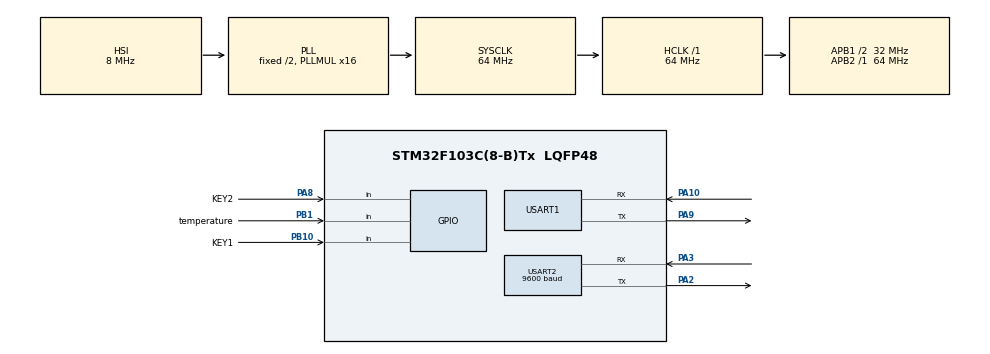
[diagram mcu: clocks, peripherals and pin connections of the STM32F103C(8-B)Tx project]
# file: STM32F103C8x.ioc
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Mcu.Family=STM32F1
Mcu.Name=STM32F103C(8-B)Tx
Mcu.Package=LQFP48
NVIC.PriorityGroup=NVIC_PRIORITYGROUP_4
NVIC.TIM2_IRQn=true\:1\:0\:true\:true\:true\:1\:true
NVIC.USART2_IRQn=true\:0\:0\:false\:true\:true\:2\:true
PA10.Mode=Asynchronous
PA10.Signal=USART1_RX
PA13.Mode=Serial_Wire
PA13.Signal=SYS_JTMS-SWDIO
PA14.Mode=Serial_Wire
PA14.Signal=SYS_JTCK-SWCLK
PA2.Mode=Asynchronous
PA2.Signal=USART2_TX
PA3.Mode=Asynchronous
PA3.Signal=USART2_RX
PA8.GPIO_Label=KEY2
PA8.Signal=GPIO_Input
PA9.Mode=Asynchronous
PA9.Signal=USART1_TX
PB1.GPIO_Label=temperature
PB1.Signal=GPIO_Input
PB10.GPIO_Label=KEY1
PB10.Signal=GPIO_Input
PD0-OSC_IN.Mode=HSE-External-Oscillator
PD0-OSC_IN.Signal=RCC_OSC_IN
PD1-OSC_OUT.Mode=HSE-External-Oscillator
PD1-OSC_OUT.Signal=RCC_OSC_OUT
ProjectManager.HeapSize=0x800
ProjectManager.StackSize=0x2000
ProjectManager.TargetToolchain=MDK-ARM V5
RCC.AHBFreq_Value=64000000
RCC.APB1CLKDivider=RCC_HCLK_DIV2
RCC.APB1Freq_Value=32000000
RCC.APB1TimFreq_Value=64000000
RCC.APB2Freq_Value=64000000
RCC.APB2TimFreq_Value=64000000
RCC.HCLKFreq_Value=64000000
RCC.PLLMUL=RCC_PLL_MUL16
RCC.SYSCLKFreq_VALUE=64000000
RCC.SYSCLKSource=RCC_SYSCLKSOURCE_PLLCLK
RCC.USBFreq_Value=64000000
TIM2.Period=10-1
TIM2.Prescaler=7200-1
USART1.VirtualMode=VM_ASYNC
USART2.BaudRate=9600
USART2.VirtualMode=VM_ASYNC
VP_TIM2_VS_ClockSourceINT.Mode=Internal
board=STM32F103C8x

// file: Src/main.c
/**
  ******************************************************************************
  * @file           : main.c
  * @brief          : Main program body
  ******************************************************************************
  ** This notice applies to any and all portions of this file
  * that are not between comment pairs USER CODE BEGIN and
  * USER CODE END. Other portions of this file, whether
  * inserted by the user or by software development tools
  * are owned by their respective copyright owners.
  *
  * COPYRIGHT(c) 2018 STMicroelectronics
  *
  * Redistribution and use in source and binary forms, with or without modification,
  * are permitted provided that the following conditions are met:
  *   1. Redistributions of source code must retain the above copyright notice,
  *      this list of conditions and the following disclaimer.
  *   2. Redistributions in binary form must reproduce the above copyright notice,
  *      this list of conditions and the following disclaimer in the documentation
  *      and/or other materials provided with the distribution.
  *   3. Neither the name of STMicroelectronics nor the names of its contributors
  *      may be used to endorse or promote products derived from this software
  *      without specific prior written permission.
  *
  * THIS SOFTWARE IS PROVIDED BY THE COPYRIGHT HOLDERS AND CONTRIBUTORS "AS IS"
  * AND ANY EXPRESS OR IMPLIED WARRANTIES, INCLUDING, BUT NOT LIMITED TO, THE
  * IMPLIED WARRANTIES OF MERCHANTABILITY AND FITNESS FOR A PARTICULAR PURPOSE ARE
  * DISCLAIMED. IN NO EVENT SHALL THE COPYRIGHT HOLDER OR CONTRIBUTORS BE LIABLE
  * FOR ANY DIRECT, INDIRECT, INCIDENTAL, SPECIAL, EXEMPLARY, OR CONSEQUENTIAL
  * DAMAGES (INCLUDING, BUT NOT LIMITED TO, PROCUREMENT OF SUBSTITUTE GOODS OR
  * SERVICES; LOSS OF USE, DATA, OR PROFITS; OR BUSINESS INTERRUPTION) HOWEVER
  * CAUSED AND ON ANY THEORY OF LIABILITY, WHETHER IN CONTRACT, STRICT LIABILITY,
  * OR TORT (INCLUDING NEGLIGENCE OR OTHERWISE) ARISING IN ANY WAY OUT OF THE USE
  * OF THIS SOFTWARE, EVEN IF ADVISED OF THE POSSIBILITY OF SUCH DAMAGE.
  *
  ******************************************************************************
  */
#include "main.h"
#include "stm32f1xx_hal.h"

/* USER CODE BEGIN Includes */
#include "hal_key.h"
#include "delay.h"
#include "ds18b20.h"
#include "gizwits_product.h"
#include "common.h"
float temperature=0;
/* USER CODE END Includes */

TIM_HandleTypeDef htim2;

UART_HandleTypeDef huart1;
UART_HandleTypeDef huart2;

/* USER CODE BEGIN PV */
/* Private variables ---------------------------------------------------------*/
#define GPIO_KEY_NUM 2 ///< Defines the total number of key member
keyTypedef_t singleKey[GPIO_KEY_NUM]; ///< Defines a single key member array pointer
keysTypedef_t keys;
/* USER CODE END PV */

void SystemClock_Config(void);
static void MX_GPIO_Init(void);
static void MX_TIM2_Init(void);
static void MX_USART1_UART_Init(void);
static void MX_USART2_UART_Init(void);
static void MX_NVIC_Init(void);

/* USER CODE BEGIN PFP */
/* Private function prototypes -----------------------------------------------*/

/* USER CODE END PFP */

/* USER CODE BEGIN 0 */
/**
* key1 short press handle
* @param none
* @return none
*/
void key1ShortPress(void)
{
    GIZWITS_LOG("KEY1 PRESS ,Production Mode\n");
    gizwitsSetMode(WIFI_PRODUCTION_TEST);
}

/**
* key1 long press handle
* @param none
* @return none
*/
void key1LongPress(void)
{
    GIZWITS_LOG("KEY1 PRESS LONG ,Wifi Reset\n");
    gizwitsSetMode(WIFI_RESET_MODE);

}

/**
* key2 short press handle
* @param none
* @return none
*/
void key2ShortPress(void)
{
    GIZWITS_LOG("KEY2 PRESS ,Soft AP mode\n");
    #if !MODULE_TYPE
    gizwitsSetMode(WIFI_SOFTAP_MODE);
    #endif
}

/**
* key2 long press handle
* @param none
* @return none
*/
void key2LongPress(void)
{
    //AirLink mode
    GIZWITS_LOG("KEY2 PRESS LONG ,AirLink mode\n");
    #if !MODULE_TYPE
    gizwitsSetMode(WIFI_AIRLINK_MODE);
    #endif
}

/**
* Key init function
* @param none
* @return none
*/
void keyInit(void)
{
    singleKey[0] = keyInitOne(NULL, KEY1_GPIO_Port, KEY1_Pin, key1ShortPress, key1LongPress);
    singleKey[1] = keyInitOne(NULL, KEY2_GPIO_Port, KEY2_Pin, key2ShortPress, key2LongPress);
    keys.singleKey = (keyTypedef_t *)&singleKey;
    keyParaInit(&keys);
}
/* USER CODE END 0 */

int main(void)
{
  /* USER CODE BEGIN 1 */
	int ret=0;

  /* USER CODE END 1 */

  /* MCU Configuration----------------------------------------------------------*/

  /* Reset of all peripherals, Initializes the Flash interface and the Systick. */
  HAL_Init();

  /* Configure the system clock */
  SystemClock_Config();

  /* Initialize all configured peripherals */
  MX_GPIO_Init();
  MX_TIM2_Init();
  MX_USART1_UART_Init();
  MX_USART2_UART_Init();

  /* Initialize interrupts */
  MX_NVIC_Init();
  /* USER CODE BEGIN 2 */
	timerInit();
	uartInit();

	userInit();
	gizwitsInit();
	keyInit();
	delay_init(72);
	ret=DS18B20_Init();
	if(ret==0)
		{
		GIZWITS_LOG("MCU Init Success \n");
		}
	//GIZWITS_LOG("MCU Init Success \n");
  /* USER CODE END 2 */

  /* Infinite loop */
  while (1)
  {

  /* USER CODE BEGIN 3 */
		temperature=DS18B20_Get_Temp();

		delay_ms(500);
		GIZWITS_LOG("temperature=%f",temperature);
		userHandle();
		gizwitsHandle((dataPoint_t *)&currentDataPoint);
  }
  /* USER CODE END 3 */

}

void SystemClock_Config(void)
{

  RCC_OscInitTypeDef RCC_OscInitStruct;
  RCC_ClkInitTypeDef RCC_ClkInitStruct;

    /**Initializes the CPU, AHB and APB busses clocks
    */
  RCC_OscInitStruct.OscillatorType = RCC_OSCILLATORTYPE_HSI;
  RCC_OscInitStruct.HSIState = RCC_HSI_ON;
  RCC_OscInitStruct.HSICalibrationValue = 16;
  RCC_OscInitStruct.PLL.PLLState = RCC_PLL_ON;
  RCC_OscInitStruct.PLL.PLLSource = RCC_PLLSOURCE_HSI_DIV2;
  RCC_OscInitStruct.PLL.PLLMUL = RCC_PLL_MUL16;
  if (HAL_RCC_OscConfig(&RCC_OscInitStruct) != HAL_OK)
  {
    _Error_Handler(__FILE__, __LINE__);
  }

    /**Initializes the CPU, AHB and APB busses clocks
    */
  RCC_ClkInitStruct.ClockType = RCC_CLOCKTYPE_HCLK|RCC_CLOCKTYPE_SYSCLK
                              |RCC_CLOCKTYPE_PCLK1|RCC_CLOCKTYPE_PCLK2;
  RCC_ClkInitStruct.SYSCLKSource = RCC_SYSCLKSOURCE_PLLCLK;
  RCC_ClkInitStruct.AHBCLKDivider = RCC_SYSCLK_DIV1;
  RCC_ClkInitStruct.APB1CLKDivider = RCC_HCLK_DIV2;
  RCC_ClkInitStruct.APB2CLKDivider = RCC_HCLK_DIV1;

  if (HAL_RCC_ClockConfig(&RCC_ClkInitStruct, FLASH_LATENCY_2) != HAL_OK)
  {
    _Error_Handler(__FILE__, __LINE__);
  }

    /**Configure the Systick interrupt time
    */
  HAL_SYSTICK_Config(HAL_RCC_GetHCLKFreq()/1000);

    /**Configure the Systick
    */
  HAL_SYSTICK_CLKSourceConfig(SYSTICK_CLKSOURCE_HCLK);

  /* SysTick_IRQn interrupt configuration */
  HAL_NVIC_SetPriority(SysTick_IRQn, 0, 0);
}

/**
  * @brief NVIC Configuration.
  * @retval None
  */
static void MX_NVIC_Init(void)
{
  /* TIM2_IRQn interrupt configuration */
  HAL_NVIC_SetPriority(TIM2_IRQn, 1, 0);
  HAL_NVIC_EnableIRQ(TIM2_IRQn);
  /* USART2_IRQn interrupt configuration */
  HAL_NVIC_SetPriority(USART2_IRQn, 0, 0);
  HAL_NVIC_EnableIRQ(USART2_IRQn);
}

/* TIM2 init function */
static void MX_TIM2_Init(void)
{

  TIM_ClockConfigTypeDef sClockSourceConfig;
  TIM_MasterConfigTypeDef sMasterConfig;

  htim2.Instance = TIM2;
  htim2.Init.Prescaler = 7200-1;
  htim2.Init.CounterMode = TIM_COUNTERMODE_UP;
  htim2.Init.Period = 10-1;
  htim2.Init.ClockDivision = TIM_CLOCKDIVISION_DIV1;
  htim2.Init.AutoReloadPreload = TIM_AUTORELOAD_PRELOAD_DISABLE;
  if (HAL_TIM_Base_Init(&htim2) != HAL_OK)
  {
    _Error_Handler(__FILE__, __LINE__);
  }

  sClockSourceConfig.ClockSource = TIM_CLOCKSOURCE_INTERNAL;
  if (HAL_TIM_ConfigClockSource(&htim2, &sClockSourceConfig) != HAL_OK)
  {
    _Error_Handler(__FILE__, __LINE__);
  }

  sMasterConfig.MasterOutputTrigger = TIM_TRGO_RESET;
  sMasterConfig.MasterSlaveMode = TIM_MASTERSLAVEMODE_DISABLE;
  if (HAL_TIMEx_MasterConfigSynchronization(&htim2, &sMasterConfig) != HAL_OK)
  {
    _Error_Handler(__FILE__, __LINE__);
  }

}

/* USART1 init function */
static void MX_USART1_UART_Init(void)
{

  huart1.Instance = USART1;
  huart1.Init.BaudRate = 115200;
  huart1.Init.WordLength = UART_WORDLENGTH_8B;
  huart1.Init.StopBits = UART_STOPBITS_1;
  huart1.Init.Parity = UART_PARITY_NONE;
  huart1.Init.Mode = UART_MODE_TX_RX;
  huart1.Init.HwFlowCtl = UART_HWCONTROL_NONE;
  huart1.Init.OverSampling = UART_OVERSAMPLING_16;
  if (HAL_UART_Init(&huart1) != HAL_OK)
  {
    _Error_Handler(__FILE__, __LINE__);
  }

}

/* USART2 init function */
static void MX_USART2_UART_Init(void)
{

  huart2.Instance = USART2;
  huart2.Init.BaudRate = 9600;
  huart2.Init.WordLength = UART_WORDLENGTH_8B;
  huart2.Init.StopBits = UART_STOPBITS_1;
  huart2.Init.Parity = UART_PARITY_NONE;
  huart2.Init.Mode = UART_MODE_TX_RX;
  huart2.Init.HwFlowCtl = UART_HWCONTROL_NONE;
  huart2.Init.OverSampling = UART_OVERSAMPLING_16;
  if (HAL_UART_Init(&huart2) != HAL_OK)
  {
    _Error_Handler(__FILE__, __LINE__);
  }

}

/** Configure pins as
        * Analog
        * Input
        * Output
        * EVENT_OUT
        * EXTI
*/
static void MX_GPIO_Init(void)
{

  GPIO_InitTypeDef GPIO_InitStruct;

  /* GPIO Ports Clock Enable */
  __HAL_RCC_GPIOD_CLK_ENABLE();
  __HAL_RCC_GPIOA_CLK_ENABLE();
  __HAL_RCC_GPIOB_CLK_ENABLE();

  /*Configure GPIO pins : temperature_Pin KEY1_Pin */
  GPIO_InitStruct.Pin = temperature_Pin|KEY1_Pin;
  GPIO_InitStruct.Mode = GPIO_MODE_INPUT;
  GPIO_InitStruct.Pull = GPIO_NOPULL;
  HAL_GPIO_Init(GPIOB, &GPIO_InitStruct);

  /*Configure GPIO pin : KEY2_Pin */
  GPIO_InitStruct.Pin = KEY2_Pin;
  GPIO_InitStruct.Mode = GPIO_MODE_INPUT;
  GPIO_InitStruct.Pull = GPIO_NOPULL;
  HAL_GPIO_Init(KEY2_GPIO_Port, &GPIO_InitStruct);

}

void _Error_Handler(char *file, int line)
{
  while(1)
  {
  }
}

/************************ (C) COPYRIGHT STMicroelectronics *****END OF FILE****/
